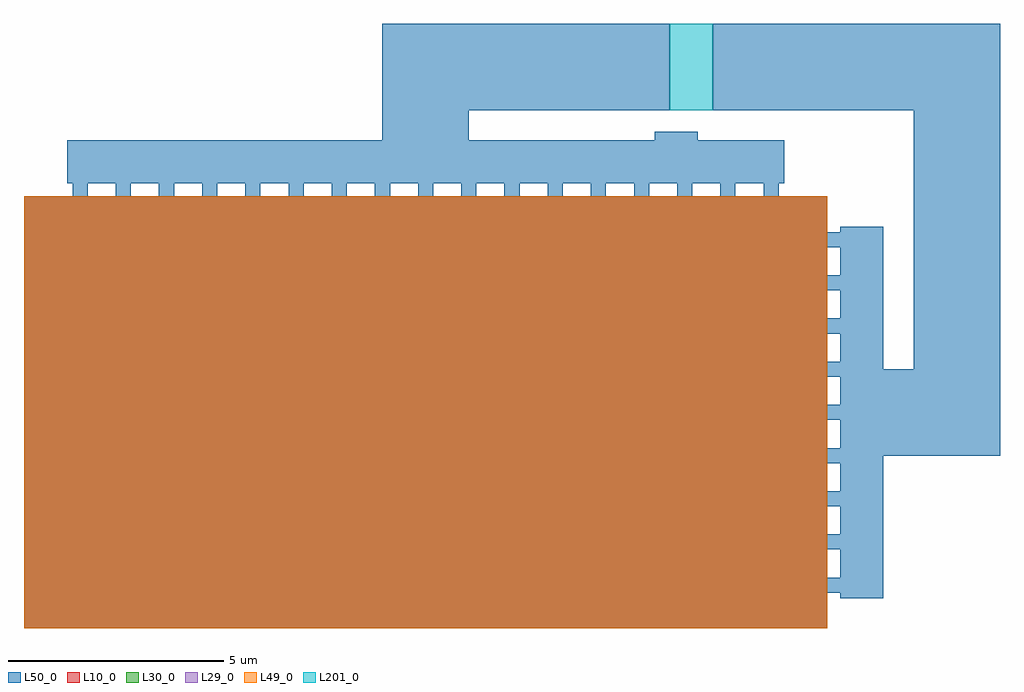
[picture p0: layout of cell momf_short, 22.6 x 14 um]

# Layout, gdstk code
import gdstk
lib = gdstk.Library(unit=1e-6, precision=1e-09)
def R(c, l, rs):  # rectangles x0, y0, x1, y1
    for r in rs: c.add(gdstk.rectangle(r[:2], r[2:], *l))
def A(c, l, x, y, w, h, nx, ny, dx, dy):  # array of equal rectangles
    R(c, l, [(x+i*dx, y+j*dy, x+i*dx+w, y+j*dy+h) for i in range(nx) for j in range(ny)])
L10_0 = (10, 0)
L29_0 = (29, 0)
L30_0 = (30, 0)
L49_0 = (49, 0)
L50_0 = (50, 0)
L201_0 = (201, 0)

momf_short = lib.new_cell('momf_short')
R(momf_short, L10_0, [(48.4,25.8,67,35.8)])
R(momf_short, L29_0, [(48.4,25.8,67,35.8)])
R(momf_short, L30_0, [(48.4,25.8,67,35.8)])
R(momf_short, L49_0, [(48.4,25.8,67,35.8)])
A(momf_short, L50_0, 48.4, 26.625, 18.9, 0.35, 1, 5, 0, 1)
A(momf_short, L50_0, 48.4, 26.975, 18.6, 0.65, 1, 8, 0, 1)
A(momf_short, L50_0, 48.4, 32.625, 18.9, 0.35, 1, 3, 0, 1)
A(momf_short, L50_0, 49.525, 35.8, 0.35, 0.3, 17, 1, 1, 0)
R(momf_short, L50_0, [(48.4,25.8,67,26.625), (67.3,26.5,68.3,29.8), (67.3,29.8,69,31.8), (69,29.8,71,37.8), (48.4,31.625,67.3,31.8), (48.4,31.8,67.3,31.975), (67.3,31.8,68.3,35.1), (48.4,34.975,67,35.8), (49.4,36.1,66,37.1), (56.7,37.1,58.7,39.8), (63,37.1,64,37.3), (58.7,37.8,63.35,39.8), (64.35,37.8,71,39.8)])
R(momf_short, L201_0, [(63.35,37.8,64.35,39.8)])

lib.write_gds('momf_short.gds')
